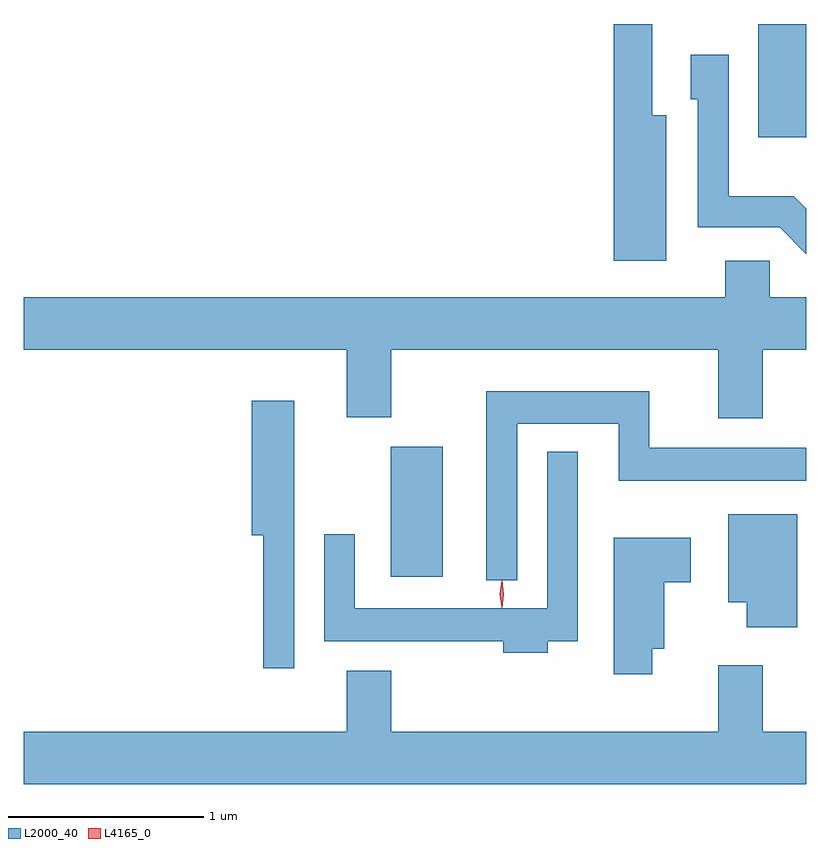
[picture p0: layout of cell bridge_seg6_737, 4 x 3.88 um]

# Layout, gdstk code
import gdstk
lib = gdstk.Library(unit=1e-6, precision=1e-09)
def R(c, l, rs):  # rectangles x0, y0, x1, y1
    for r in rs: c.add(gdstk.rectangle(r[:2], r[2:], *l))
def P(c, l, *ps):  # polygons
    for p in ps: c.add(gdstk.Polygon(p, *l))
L2000_40 = (2000, 40)
L4165_0 = (4165, 0)

bridge_seg6_737 = lib.new_cell('bridge_seg6_737')
R(bridge_seg6_737, L2000_40, [(409.516,1566.636,409.784,1567.299), (411.396,1568.881,411.641,1569.46)])
P(bridge_seg6_737, L2000_40, [(410.924,1568.994),(410.854,1568.994),(410.854,1569.46),(410.656,1569.46),(410.656,1568.251),(410.924,1568.251)],
  [(411.641,1568.515),(411.577,1568.579),(411.244,1568.579),(411.244,1569.304),(411.051,1569.304),(411.051,1569.076),(411.086,1569.076),(411.086,1568.421),(411.504,1568.421),(411.641,1568.284)],
  [(411.419,1567.796),(411.641,1567.796),(411.641,1568.064),(411.454,1568.064),(411.454,1568.249),(411.226,1568.249),(411.226,1568.064),(407.641,1568.064),(407.641,1567.796),(409.291,1567.796),(409.291,1567.451),(409.519,1567.451),(409.519,1567.796),(411.191,1567.796),(411.191,1567.446),(411.419,1567.446)],
  [(410.164,1567.416),(410.681,1567.416),(410.681,1567.126),(411.641,1567.126),(411.641,1567.294),(410.839,1567.294),(410.839,1567.584),(410.006,1567.584),(410.006,1566.618),(410.164,1566.618)],
  [(409.024,1567.534),(408.806,1567.534),(408.806,1566.846),(408.866,1566.846),(408.866,1566.168),(409.024,1566.168)],
  [(410.319,1566.306),(410.474,1566.306),(410.474,1567.273),(410.316,1567.273),(410.316,1566.474),(409.334,1566.474),(409.334,1566.853),(409.176,1566.853),(409.176,1566.306),(410.091,1566.306),(410.091,1566.246),(410.319,1566.246)],
  [(411.594,1566.954),(411.241,1566.954),(411.241,1566.506),(411.336,1566.506),(411.336,1566.376),(411.594,1566.376)],
  [(410.854,1566.266),(410.914,1566.266),(410.914,1566.606),(411.049,1566.606),(411.049,1566.834),(410.656,1566.834),(410.656,1566.136),(410.854,1566.136)],
  [(411.641,1565.844),(411.419,1565.844),(411.419,1566.184),(411.191,1566.184),(411.191,1565.844),(409.519,1565.844),(409.519,1566.154),(409.291,1566.154),(409.291,1565.844),(407.641,1565.844),(407.641,1565.576),(411.641,1565.576)])
P(bridge_seg6_737, L4165_0, [(410.084,1566.477),(410.075,1566.546),(410.084,1566.616),(410.085,1566.616),(410.086,1566.616),(410.095,1566.546),(410.086,1566.477),(410.085,1566.477)],
  [(410.085,1566.479),(410.084,1566.48),(410.075,1566.546),(410.084,1566.612),(410.085,1566.613),(410.085,1566.612),(410.095,1566.546),(410.085,1566.48)])

lib.write_gds('bridge_seg6_737.gds')
